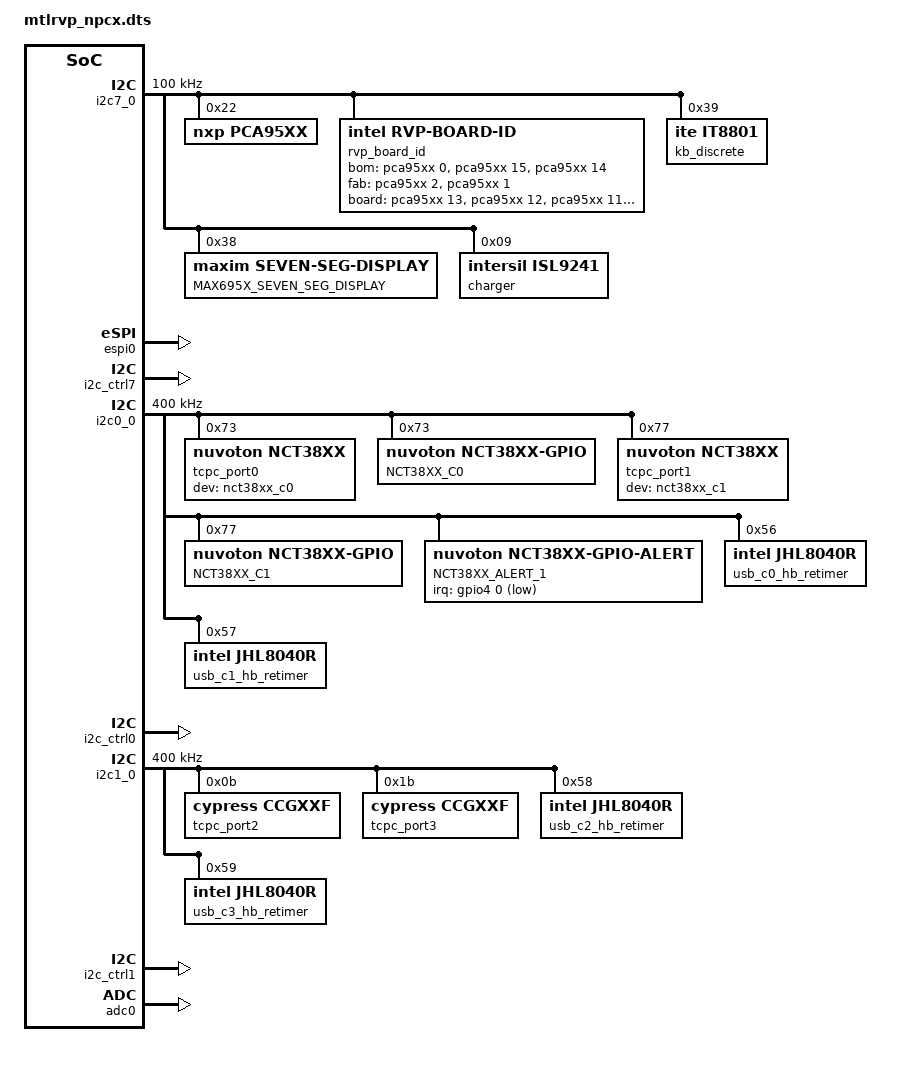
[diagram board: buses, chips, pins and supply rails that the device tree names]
/* Copyright 2022 The Chromium OS Authors. All rights reserved.
 * Use of this source code is governed by a BSD-style license that can be
 * found in the LICENSE file.
 */

 #include <dt-bindings/usb_pd_tcpm.h>

/ {
	chosen {
		cros,rtc = &mtc;
	};

	hibernate-wake-pins {
		compatible = "cros-ec,hibernate-wake-pins";
		wakeup-irqs = <
			&int_ac_present
			&int_lid_open
			&int_power_button
		>;
	};

	named-i2c-ports {
		compatible = "named-i2c-ports";

		i2c_charger: charger {
			i2c-port = <&i2c7_0>;
			enum-names = "I2C_PORT_CHARGER",
				"I2C_PORT_BATTERY",
				"I2C_PORT_EEPROM",
				"I2C_PORT_KB_DISCRETE",
				"I2C_PORT_PORT80";
		};
		typec_aic1: typec-aic1{
			i2c-port = <&i2c0_0>;
			enum-names = "I2C_PORT_TYPEC_AIC_1";
		};
		typec_aic2: typec-aic2{
			i2c-port = <&i2c1_0>;
			enum-names = "I2C_PORT_TYPEC_AIC_2";
		};
	};

	named-adc-channels {
		compatible = "named-adc-channels";

		adc_ambient: ambient {
			enum-name = "ADC_TEMP_SENSOR_1";
			io-channels = <&adc0 3>;
		};
		adc_ddr: ddr {
			enum-name = "ADC_TEMP_SENSOR_2";
			io-channels = <&adc0 4>;
		};
		adc_skin: skin {
			enum-name = "ADC_TEMP_SENSOR_3";
			io-channels = <&adc0 2>;
		};
		adc_vr: vr {
			enum-name = "ADC_TEMP_SENSOR_4";
			io-channels = <&adc0 1>;
		};
	};
};

/* charger */
&i2c7_0 {
	label = "I2C_CHARGER";
	status = "okay";
	clock-frequency = <I2C_BITRATE_STANDARD>;
	pinctrl-0 = <&i2c7_0_sda_scl_gpb2_b3>;
	pinctrl-names = "default";

	pca95xx: pca95xx@22 {
		compatible = "nxp,pca95xx";
		label = "PCA95XX";
		reg = <0x22>;
		gpio-controller;
		#gpio-cells = <2>;
		ngpios = <16>;
	};

	rvp_board_id: rvp-board-id {
		compatible = "intel,rvp-board-id";

		/*
		 * BOM ID [2]   : IOEX[0]
		 * BOM ID [1:0] : IOEX[15:14]
		 */
		bom-gpios = <&pca95xx 0 0>, <&pca95xx 15 0>, <&pca95xx 14 0>;

		/*
		 * FAB ID [1:0] : IOEX[2:1]
		 */
		fab-gpios = <&pca95xx 2 0>, <&pca95xx 1 0>;

		/*
		 * BOARD ID[5:0] : IOEX[13:8]
		 */
		board-gpios = <&pca95xx 13 0>, <&pca95xx 12 0>, <&pca95xx 11 0>,
			      <&pca95xx 10 0>, <&pca95xx 9 0>, <&pca95xx 8 0>;
	};

	kb_discrete: ite-it8801@39 {
		compatible = "ite,it8801";
		reg = <0x39>;
	};

	seven_seg_display: max695x-seven-seg-display@38 {
		compatible = "maxim,seven-seg-display";
		reg = <0x38>;
		label = "MAX695X_SEVEN_SEG_DISPLAY";
	};

	charger: isl9241@9 {
		compatible = "intersil,isl9241";
		status = "okay";
		reg = <0x9>;
	};
};

/* host interface */
&espi0 {
	status = "okay";
	pinctrl-0 = <&espi_lpc_gp46_47_51_52_53_54_55_57>;
	pinctrl-names = "default";
};

&i2c_ctrl7 {
	status = "okay";
};

/* typec_aic1 */
&i2c0_0 {
	label = "I2C_USB_C0_C1_TCPC";
	status = "okay";
	clock-frequency = <I2C_BITRATE_FAST>;
	pinctrl-0 = <&i2c0_0_sda_scl_gpb4_b5>;
	pinctrl-names = "default";

	tcpc_port0: nct38xx@73 {
		compatible = "nuvoton,nct38xx";
		reg = <0x73>;
		gpio-dev = <&nct38xx_c0>;
		tcpc-flags = <(
			TCPC_FLAGS_TCPCI_REV2_0 |
			TCPC_FLAGS_NO_DEBUG_ACC_CONTROL)>;
	};

	nct38xx_c0: nct38xx_c0@73 {
		#address-cells = <1>;
		#size-cells = <0>;
		compatible = "nuvoton,nct38xx-gpio";
		reg = <0x73>;
		label = "NCT38XX_C0";

		ioex_c0:gpio@0 {
			compatible = "nuvoton,nct38xx-gpio-port";
			reg = <0x0>;
			label = "NCT38XX_C0_GPIO0";
			gpio-controller;
			#gpio-cells = <2>;
			ngpios = <8>;
			pin_mask = <0xdc>;
			pinmux_mask = <0xff>;
		};
	};

	tcpc_port1: nct38xx@77 {
		compatible = "nuvoton,nct38xx";
		reg = <0x77>;
		gpio-dev = <&nct38xx_c1>;
		tcpc-flags = <(TCPC_FLAGS_TCPCI_REV2_0)>;
	};

	nct38xx_c1: nct38xx_c1@77 {
		#address-cells = <1>;
		#size-cells = <0>;
		compatible = "nuvoton,nct38xx-gpio";
		reg = <0x77>;
		label = "NCT38XX_C1";

		ioex_c1:gpio@0 {
			compatible = "nuvoton,nct38xx-gpio-port";
			reg = <0x0>;
			label = "NCT38XX_C1_GPIO0";
			gpio-controller;
			#gpio-cells = <2>;
			ngpios = <8>;
			pin_mask = <0xdc>;
			pinmux_mask = <0xff>;
		};
	};

	nct38xx_alert_0 {
		compatible = "nuvoton,nct38xx-gpio-alert";
		irq-gpios = <&gpio4 0 GPIO_ACTIVE_LOW>;
		nct38xx-dev = <&nct38xx_c0 &nct38xx_c1>;
		label = "NCT38XX_ALERT_1";
	};

	usb_c0_hb_retimer: jhl8040r-c0@56 {
		compatible = "intel,jhl8040r";
		reg = <0x56>;
		reset-pin = <&usb_c0_hb_retimer_rst>;
		ls-en-pin = <&usb_c0_hb_retimer_ls_en>;
	};

	usb_c1_hb_retimer: jhl8040r-c1@57 {
		compatible = "intel,jhl8040r";
		reg = <0x57>;
		reset-pin = <&usb_c1_hb_retimer_rst>;
		ls-en-pin = <&usb_c1_hb_retimer_ls_en>;
	};
};

&i2c_ctrl0 {
	status = "okay";
};

/* typec_aic2 */
&i2c1_0 {
	label = "I2C_USB_C2_C3_TCPC";
	status = "okay";
	clock-frequency = <I2C_BITRATE_FAST>;
	pinctrl-0 = <&i2c1_0_sda_scl_gp87_90>;
	pinctrl-names = "default";

	tcpc_port2: ccgxxf@b {
		compatible = "cypress,ccgxxf";
		reg = <0xb>;
	};

	tcpc_port3: ccgxxf@1b {
		compatible = "cypress,ccgxxf";
		reg = <0x1b>;
	};

	usb_c2_hb_retimer: jhl8040r-c2@58 {
		compatible = "intel,jhl8040r";
		reg = <0x58>;
		reset-pin = <&usb_c2_hb_retimer_rst>;
		ls-en-pin = <&usb_c2_hb_retimer_ls_en>;
	};

	usb_c3_hb_retimer: jhl8040r-c3@59 {
		compatible = "intel,jhl8040r";
		reg = <0x59>;
		reset-pin = <&usb_c3_hb_retimer_rst>;
		ls-en-pin = <&usb_c3_hb_retimer_ls_en>;
	};
};

&i2c_ctrl1 {
	status = "okay";
};

&adc0 {
	status = "okay";
	pinctrl-0 = <&adc0_chan1_gp44
		     &adc0_chan2_gp43
		     &adc0_chan3_gp42
		     &adc0_chan4_gp41>;
	pinctrl-names = "default";
};
